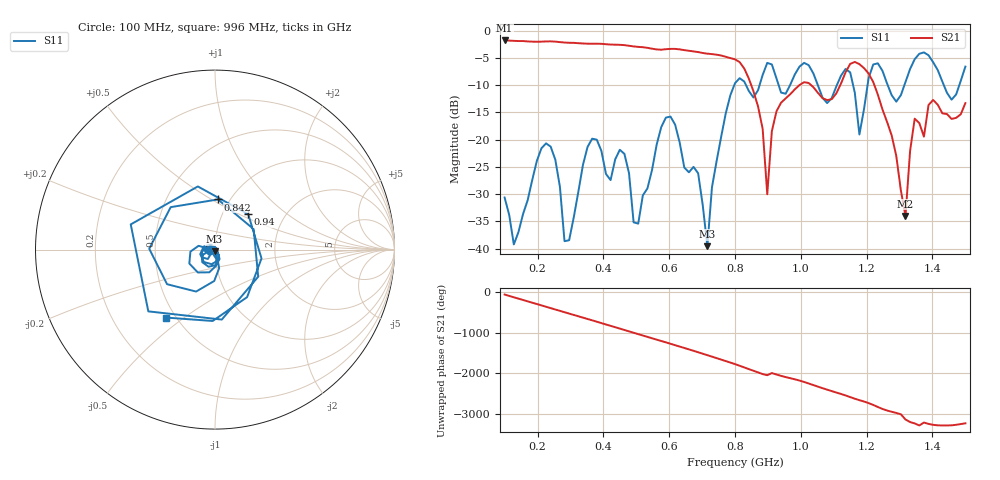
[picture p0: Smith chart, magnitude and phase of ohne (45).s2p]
! NanoVNA-App
! Date: 2025-09-26 09:55:45
! Start: 100MHz Stop: 1,5GHz Points: 101
! S-Parameter data: F S11 S21 S12 S22
# Hz S RI R 50
!  Frequency  S11_Real  S11_Imag  S21_Real  S21_Imag  S12_Real  S12_Imag  S22_Real  S22_Imag
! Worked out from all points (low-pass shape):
!   101 points, 100 MHz to 1.5 GHz, reference 50 ohm
!   highest |S21| = -1.79 dB at 100 MHz (marker M1); lowest = -34.0 dB at 1.318 GHz (marker M2)
!   |S21| within 3 dB of the highest: start of sweep to 772.3 MHz
!   lowest |S11| = -39.6 dB at 716 MHz (marker M3), VSWR 1.02, Z = 49.8 - j1.02 ohm
!   |S11| at or under -10 dB: start of sweep to 797.7 MHz; 833.5 MHz to 874.7 MHz (41.2 MHz wide, 4.82 % of centre); 1.052 GHz to 1.109 GHz (57.76 MHz wide, 5.35 % of centre)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
!   S12 and S22 are empty: the file has one direction only
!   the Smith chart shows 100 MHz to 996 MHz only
!   S11 on the Smith chart (normalised r, x): 100 MHz: 0.94, -0.01; 842 MHz: 0.88, +0.53; 940 MHz: 1.32, +0.56; 996 MHz: 0.44, -0.43
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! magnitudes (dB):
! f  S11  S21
! 100 MHz  -30.6  -1.8
! 128 MHz  -39.2  -1.9
! 226 MHz  -20.7  -2.0
! 296 MHz  -38.5  -2.2
! 338 MHz  -24.6  -2.3
! 464 MHz  -22.6  -2.6
! 506 MHz  -35.4  -3.0
! 576 MHz  -17.7  -3.5
! 716 MHz  -39.6  -4.2
! 800 MHz  -9.6  -5.3
! 842 MHz  -11.1  -8.8
! 898 MHz  -5.9  -30.0
! 940 MHz  -11.4  -13.2
! 996 MHz  -6.6  -10.0
! 1.038 GHz  -7.8  -10.4
! 1.15 GHz  -7.7  -6.1
! 1.178 GHz  -19.1  -6.1
! 1.22 GHz  -6.2  -9.4
! 1.276 GHz  -11.8  -19.2
! 1.318 GHz  -9.4  -34.0
! 1.346 GHz  -5.2  -16.2
! 1.5 GHz  -6.6  -13.3
